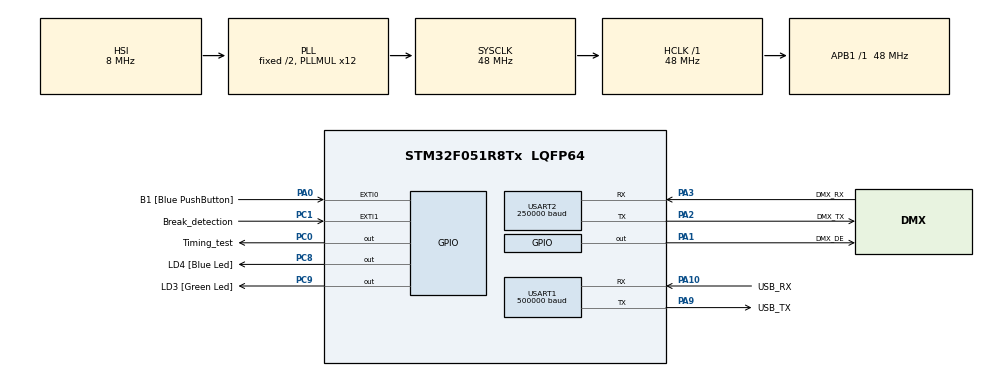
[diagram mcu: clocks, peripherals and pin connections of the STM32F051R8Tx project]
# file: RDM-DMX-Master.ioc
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Dma.Request0=USART1_RX
Dma.Request1=USART2_RX
Dma.USART1_RX.0.Direction=DMA_PERIPH_TO_MEMORY
Dma.USART1_RX.0.Instance=DMA1_Channel3
Dma.USART1_RX.0.MemDataAlignment=DMA_MDATAALIGN_BYTE
Dma.USART1_RX.0.MemInc=DMA_MINC_ENABLE
Dma.USART1_RX.0.Mode=DMA_NORMAL
Dma.USART1_RX.0.PeriphDataAlignment=DMA_PDATAALIGN_BYTE
Dma.USART1_RX.0.PeriphInc=DMA_PINC_DISABLE
Dma.USART1_RX.0.Priority=DMA_PRIORITY_LOW
Dma.USART2_RX.1.Direction=DMA_PERIPH_TO_MEMORY
Dma.USART2_RX.1.Instance=DMA1_Channel5
Dma.USART2_RX.1.MemDataAlignment=DMA_MDATAALIGN_BYTE
Dma.USART2_RX.1.MemInc=DMA_MINC_ENABLE
Dma.USART2_RX.1.Mode=DMA_NORMAL
Dma.USART2_RX.1.PeriphDataAlignment=DMA_PDATAALIGN_BYTE
Dma.USART2_RX.1.PeriphInc=DMA_PINC_DISABLE
Dma.USART2_RX.1.Priority=DMA_PRIORITY_LOW
Mcu.Family=STM32F0
Mcu.Name=STM32F051R8Tx
Mcu.Package=LQFP64
NVIC.DMA1_Channel2_3_IRQn=true\:0\:0\:false\:false\:true\:true\:true\:true
NVIC.DMA1_Channel4_5_IRQn=true\:0\:0\:false\:false\:true\:true\:true\:true
NVIC.TIM14_IRQn=true\:0\:0\:false\:false\:true\:true\:true\:true
NVIC.TIM17_IRQn=true\:1\:0\:true\:false\:true\:true\:true\:true
NVIC.TIM2_IRQn=true\:2\:0\:true\:false\:true\:true\:true\:true
NVIC.USART1_IRQn=true\:0\:0\:false\:false\:true\:true\:true\:true
NVIC.USART2_IRQn=true\:1\:0\:true\:false\:true\:true\:true\:true
PA0.GPIO_Label=B1 [Blue PushButton]
PA0.GPIO_ModeDefaultEXTI=GPIO_MODE_EVT_RISING
PA0.Signal=GPXTI0
PA1.GPIO_Label=DMX_DE
PA1.Signal=GPIO_Output
PA10.GPIO_Label=USB_RX
PA10.Mode=Asynchronous
PA10.Signal=USART1_RX
PA13.GPIO_Label=SWDIO
PA13.Mode=Serial_Wire
PA13.Signal=SYS_SWDIO
PA14.GPIO_Label=SWCLK
PA14.Mode=Serial_Wire
PA14.Signal=SYS_SWCLK
PA2.GPIO_Label=DMX_TX
PA2.Mode=Asynchronous
PA2.Signal=USART2_TX
PA3.GPIO_Label=DMX_RX
PA3.Mode=Asynchronous
PA3.Signal=USART2_RX
PA9.GPIO_Label=USB_TX
PA9.Mode=Asynchronous
PA9.Signal=USART1_TX
PC0.GPIO_Label=Timing_test
PC0.GPIO_Speed=GPIO_SPEED_FREQ_HIGH
PC0.Signal=GPIO_Output
PC1.GPIO_Label=Break_detection
PC1.GPIO_ModeDefaultEXTI=GPIO_MODE_IT_RISING_FALLING
PC1.Signal=GPXTI1
PC8.GPIO_Label=LD4 [Blue Led]
PC8.Signal=GPIO_Output
PC9.GPIO_Label=LD3 [Green Led]
PC9.Signal=GPIO_Output
ProjectManager.HeapSize=0x200
ProjectManager.StackSize=0x400
ProjectManager.TargetToolchain=STM32CubeIDE
RCC.AHBFreq_Value=48000000
RCC.APB1Freq_Value=48000000
RCC.APB1TimFreq_Value=48000000
RCC.HCLKFreq_Value=48000000
RCC.PLLMUL=RCC_PLL_MUL12
RCC.SYSCLKFreq_VALUE=48000000
RCC.SYSCLKSource=RCC_SYSCLKSOURCE_PLLCLK
TIM14.Channel=TIM_CHANNEL_1
TIM14.Prescaler=48-1
TIM17.AutoReloadPreload=TIM_AUTORELOAD_PRELOAD_ENABLE
TIM17.Period=0xffff
TIM17.Prescaler=48-1
TIM2.Period=100000
TIM2.Prescaler=48-1
USART1.BaudRate=500000
USART1.StopBits=STOPBITS_2
USART1.VirtualMode-Asynchronous=VM_ASYNC
USART2.BaudRate=250000
USART2.StopBits=STOPBITS_2
USART2.VirtualMode-Asynchronous=VM_ASYNC
VP_TIM14_VS_ClockSourceINT.Mode=Enable_Timer
VP_TIM14_VS_no_output1.Mode=Output Compare1 No Output
VP_TIM17_VS_ClockSourceINT.Mode=Enable_Timer
VP_TIM2_VS_ClockSourceINT.Mode=Internal
board=STM32F0DISCOVERY

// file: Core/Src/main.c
/* USER CODE BEGIN Header */
/**
  ******************************************************************************
  * @file           : main.c
  * @brief          : Main program body
  ******************************************************************************
  * @attention
  *
  * Copyright (c) 2023 STMicroelectronics.
  * All rights reserved.
  *
  * This software is licensed under terms that can be found in the LICENSE file
  * in the root directory of this software component.
  * If no LICENSE file comes with this software, it is provided AS-IS.
  *
  ******************************************************************************
  */
/* USER CODE END Header */
#include "main.h"

/* USER CODE BEGIN Includes */
#include "DMX.h"
#include <stdio.h>
#include <stdlib.h>
#include <string.h>
/* USER CODE END Includes */

/* USER CODE BEGIN PD */
#define TIMEOUT 100
#define NUM_CHANNELS 40
#define MINIMAL_BREAK_TIME 80 //80us (por norma o minimo é 88us)
#define MINIMAL_MAB_TIME 8 //8us (por norma o minimo é 12us)
//#define DEBUG_RDM
//#define DEBUG_DMX
#define GUI_RDM_DMX
/* USER CODE END PD */

/* USER CODE BEGIN PM */
/* Macros para utilizar os mesmos pinos como UART e GPIO */
#define DMX_UART_Init() MX_USART2_UART_Init()
#define DMX_UART_DeInit HAL_UART_DeInit(&huart2)
#define DMX_GPIO_DeInit() HAL_GPIO_DeInit(GPIOA, GPIO_PIN_2); // Desativa o modo GPIO
#define DMX_Set_LOW() HAL_GPIO_WritePin(GPIOA, GPIO_PIN_2, GPIO_PIN_SET);
#define DMX_Set_HIGH() HAL_GPIO_WritePin(GPIOA, GPIO_PIN_2, GPIO_PIN_RESET);
#define DMX_Set_DE_LOW() HAL_GPIO_WritePin(DMX_DE_GPIO_Port, DMX_DE_Pin, GPIO_PIN_RESET);
#define DMX_Set_DE_HIGH() HAL_GPIO_WritePin(DMX_DE_GPIO_Port, DMX_DE_Pin, GPIO_PIN_SET);

#define HEADER_BUFFER_SIZE 9
#define GUI_addr &huart1
#define LIGHTING_addr &huart2
/* USER CODE END PM */

TIM_HandleTypeDef htim2;
TIM_HandleTypeDef htim14;
TIM_HandleTypeDef htim17;

UART_HandleTypeDef huart1;
UART_HandleTypeDef huart2;
DMA_HandleTypeDef hdma_usart1_rx;
DMA_HandleTypeDef hdma_usart2_rx;

/* USER CODE BEGIN PV */
// Defina os estados da máquina de estados para o envio DMX
typedef enum {
    STATE_IDLE,
	STATE_PREPARE,
    STATE_BREAK,
    STATE_MBB,
    STATE_DATA,
} DMX_State;

// Variáveis globais
DMX_State dmx_state = STATE_IDLE;
uint16_t dmx_index = 0;
uint16_t receivedIndex = 0;
uint8_t* receiveBuffer = NULL;

typedef struct {
    uint8_t *data;
    uint16_t capacity;
} DynamicFrame;

DynamicFrame currentFrame = {0};
uint8_t header_sequence[] = {0x7E, 0x06, 0x3A};
uint8_t tail_sequence[] = {0x7E, 0x06, 0x3B};
uint8_t TBB_value = 0;
uint8_t TBF_value = 0;
uint8_t break_time_value = 88;
uint8_t countinuous_DMX_send = 0;
uint8_t uartBuffer[HEADER_BUFFER_SIZE];
uint8_t* DMX_buffer_toSend = NULL;
uint16_t DMX_buffer_toSend_Size = 0;
uint8_t process_frame = 0;
uint8_t data_already_send = 1;
uint16_t Frame_Size = 0;
uint16_t UART2_rxBuffer_Size = 0;
uint8_t UART2_on_Start = 0;
uint8_t UART2_rxBuffer[1024];
uint8_t UART2_Begin_rxBuffer[3];
uint8_t on_MAB = 0;
uint8_t on_break_mark = 0;
uint8_t data_sent;

/* USER CODE END PV */

void SystemClock_Config(void);
static void MX_GPIO_Init(void);
static void MX_DMA_Init(void);
static void MX_USART1_UART_Init(void);
static void MX_USART2_UART_Init(void);
static void MX_TIM2_Init(void);
static void MX_TIM17_Init(void);
static void MX_TIM14_Init(void);
/* USER CODE BEGIN PFP */
static void DMX_GPIO_Init(void);
void DMX_SendHandler(void);
void startTiming(void);
void stopTiming(void);
/* USER CODE END PFP */

/* USER CODE BEGIN 0 */
void HAL_UART_RxCpltCallback(UART_HandleTypeDef *huart) {
    if(huart == GUI_addr){
    	TIM2->CNT = 0; // Zera o timer que reseta uart em eventos de travamento
    	if (currentFrame.data == NULL) {
			// Cabeçalho e tamanho dos dados detectados, continua a leitura dos dados
			if ((uartBuffer[0] == header_sequence[0]) &&
				(uartBuffer[1] == header_sequence[1]) &&
				(uartBuffer[2] == header_sequence[2])) {

				// Cabeçalho detectado, continua a leitura do tamanho dos dados
				currentFrame.capacity = (uint16_t)((uartBuffer[3] << 8) | uartBuffer[4]);
				currentFrame.data = (uint8_t *)malloc(currentFrame.capacity);

				// Coloca os dados extras nos frames
				TBB_value = uartBuffer[5];
				TBF_value = uartBuffer[6];
				break_time_value = uartBuffer[7];
				countinuous_DMX_send = uartBuffer[8];

				if (currentFrame.data != NULL) {
					// Continua a recepção dos dados e rodapé
					HAL_UART_Receive_DMA(huart, currentFrame.data, currentFrame.capacity);
				} else {
					// Falha na alocação de memória, lidar com isso conforme necessário
					free(currentFrame.data);
					currentFrame.data = NULL;
					HAL_UART_Receive_DMA(huart, uartBuffer, HEADER_BUFFER_SIZE);
				}

			} else{ // O cabeçalho está errado e precisar esperar a recepção de novos dados
				free(currentFrame.data);
				currentFrame.data = NULL;
				HAL_UART_Receive_DMA(huart, uartBuffer, HEADER_BUFFER_SIZE);
			}

		} else {
			uint16_t DataSize = currentFrame.capacity;
			// Se o rodapé estiver correto, processa o frame
			if ((currentFrame.data[DataSize-3] == tail_sequence[0]) &&
				(currentFrame.data[DataSize-2] == tail_sequence[1]) &&
				(currentFrame.data[DataSize-1] == tail_sequence[2])) {

				process_frame = 1; //Processa o frame

			} else {
				// Se tiver errado, ignora os dados recebidos e espera recepção de novas dados
				free(currentFrame.data);
				currentFrame.data = NULL;
				HAL_UART_Receive_DMA(huart, uartBuffer, HEADER_BUFFER_SIZE);
			}

			HAL_UART_Receive_DMA(huart, uartBuffer, HEADER_BUFFER_SIZE);
		}
    }

    if (huart == LIGHTING_addr){
    	// Corresponde a UART da interface RS485

		/* Recebe os primeiros 3 bytes do frame.
		 * Se for DMX espera receber 256 bytes
		 * Se for RDM espera receber o tamanho designado para o frame */

		if(huart->ErrorCode != 0){
			HAL_UART_DeInit(huart);
			HAL_UART_Init(huart);
			#ifdef DEBUG_PYSICAL
				Debug_write_string("\n\rOcorreu um erro no recebimento e os dados não serão processados");
			#endif

		} else {

			if (UART2_on_Start){
				/* Se a UART receceu os 3 bytes de inicio, então testa se é RDM ou DMX
				 * e prapara o recebimento do restante dos dados
				 *
				 * */

				UART2_on_Start = 0;

				if (UART2_Begin_rxBuffer[0] == 0xCC){
					uint16_t Frame_Size = UART2_rxBuffer_Size - 3;
					HAL_UART_Receive_IT(huart, UART2_rxBuffer, Frame_Size);

				} else{
					// Tratamento quando o dado recebido não é DMX nem RDM
					HAL_NVIC_EnableIRQ(EXTI0_1_IRQn); //Libera para receber um novo frame
				}

			} else {
				HAL_NVIC_EnableIRQ(EXTI0_1_IRQn); //Libera para receber um novo frame
				// Envia o frame para a interface grafica

			}
		}
	}
}

// Função para lidar com a transmissão concluída
void HAL_UART_TxCpltCallback(UART_HandleTypeDef *huart)
{
	if (huart == &huart2){
		 // Este callback será chamado quando a transmissão for concluída
		DMX_Set_DE_LOW();  		 // Desabilitar o barramento DMX para escrita (Necessidade do RS485)
		dmx_state = STATE_IDLE;  // Transição para o estado de IDLE
		data_sent = 1;

		// Libera o buffer de recebimento de dados
		if (!countinuous_DMX_send){
			DMX_buffer_toSend_Size = 0;
			free(DMX_buffer_toSend);
			DMX_buffer_toSend = NULL;
			data_already_send = 1; // Flag para indicar que os dados foram enviados
		}

	}
}

/* USER CODE END 0 */

int main(void)
{

  /* MCU Configuration--------------------------------------------------------*/

  /* Reset of all peripherals, Initializes the Flash interface and the Systick. */
  HAL_Init();

  /* Configure the system clock */
  SystemClock_Config();

  /* Initialize all configured peripherals */
  MX_GPIO_Init();
  MX_DMA_Init();
  MX_USART1_UART_Init();
  MX_USART2_UART_Init();
  MX_TIM2_Init();
  MX_TIM17_Init();
  MX_TIM14_Init();
  /* USER CODE BEGIN 2 */
  #define GUI_addr &huart1
  #define LIGHTING_addr &huart2

  uint8_t dataReceived;
  uint8_t GUI_receiveFinished = 0;
  uint8_t GUI_receive = 1;
  uint32_t currentTime;

  unsigned char viewDMX[20];

  DMX_UART_Init();
  HAL_TIM_Base_Start(&htim17);
  HAL_TIM_Base_Start_IT(&htim2);

  // Inicializa a DMA para a recepção UART
  HAL_UART_Receive_DMA(&huart1, uartBuffer, HEADER_BUFFER_SIZE);

  /* USER CODE END 2 */

  /* Infinite loop */
  /* USER CODE BEGIN WHILE */
  while (1)
  {

//	if(process_frame == 0 && &huart1.Lock == HAL_UNLOCKED){
//		HAL_UART_Receive_DMA(&huart1, uartBuffer, HEADER_BUFFER_SIZE);
//	}

	if(process_frame && (data_already_send || data_sent)){
		// Libera a memória anteriormente alocada se necessário
		DMX_buffer_toSend_Size = 0;
		free(DMX_buffer_toSend);
		DMX_buffer_toSend = NULL;

		if (DMX_buffer_toSend != NULL)
			free(DMX_buffer_toSend);

		DMX_buffer_toSend_Size = currentFrame.capacity - 5;
		DMX_buffer_toSend = (uint8_t *)malloc(DMX_buffer_toSend_Size);

		// Verifica se a alocação de memória foi bem-sucedida antes de copiar os dados
		if (DMX_buffer_toSend != NULL) {

			memcpy(DMX_buffer_toSend, currentFrame.data, DMX_buffer_toSend_Size);
			dmx_state = STATE_PREPARE;
			data_already_send = 0;
			DMX_SendHandler();
		} else {
			// Lida com a falha na alocação de memória, se necessário
		}

		process_frame = 0;
		data_sent = 0;
		data_already_send = 0;

    	// Prepara nova recepção
    	free(currentFrame.data);
    	currentFrame.data = NULL;
//    	HAL_UART_Receive_DMA(&huart1, uartBuffer, HEADER_BUFFER_SIZE);

	}

	// Verifica se deve enviar continuamente os dados
	if(countinuous_DMX_send && data_sent){
		data_sent = 0;
		dmx_state = STATE_PREPARE;
		DMX_SendHandler();
	}

//	if(GUI_receive == 1){
//		/* Recebe dados da GUI */
//
//		if(HAL_UART_Receive (GUI_addr, &dataReceived, 1, 2) == HAL_OK){
//			uint8_t* tempBuffer = (uint8_t*)realloc(receiveBuffer, (receivedIndex + 1) * sizeof(uint8_t)); /* Buffer temporario para alocacao dinamica*/
//			receiveBuffer = tempBuffer;
//			receiveBuffer[receivedIndex++] = dataReceived;
//			GUI_receiveFinished = 1; /* Avisa que quando acabar o recebimento de bytes, pode enviar para a luminaria*/
//
//		} else if(GUI_receiveFinished == 1){
//
//			/* Se acabou o recebimento, envia para a luminária e reseta os parametros de recebimento*/
//			if(receivedIndex > 5){ //Verifica se há dados para serem repassados
//				dmx_state = STATE_PREPARE;
//				DMX_SendHandler();
//			}
//
//			if(receiveBuffer[0] == 0xCC){	// Se for um frame RDM, a proxima iteracao sera a espera de um comando vindo da luminaria
//				GUI_receive = 0; /* Entra para a secao que espera o recebimento de dados da luminaria e envia para a GUI*/
//				currentTime = __HAL_TIM_GET_COUNTER(&htim2); /* Inicia timer para definir rota de retorno para este modo*/
//
//			}
//
//			GUI_receiveFinished = 0;
////			receivedIndex = 0;
////			free(receiveBuffer);
////			receiveBuffer = NULL;
//		}
//	} else{
//		/* Recebe dados da luminaria */
//		if(HAL_UART_Receive (LIGHTING_addr, &dataReceived, 1, 1) == HAL_OK){
//			uint8_t* tempBuffer = (uint8_t*)realloc(receiveBuffer, (receivedIndex + 1) * sizeof(uint8_t)); /* Buffer temporario para alocacao dinamica*/
//			receiveBuffer = tempBuffer;
//			receiveBuffer[receivedIndex++] = dataReceived;
//			GUI_receiveFinished = 1; /* Avisa que quando acabar o recebimento de bytes, pode enviar para a luminaria*/
//
//		} else if(GUI_receiveFinished == 1){
//			/* Se acabou o recebimento, envia para a GUI e reseta os parametros de recebimento*/
//			if(receivedIndex > 1)//Verifica se há dados para serem repassados
//				HAL_UART_Transmit(GUI_addr, receiveBuffer, receivedIndex, 1);
//
//			GUI_receiveFinished = 0;
//			receivedIndex = 0;
//			GUI_receive = 1; /* Volta para o recebimento de dados da GUI e envio para a luminaria*/
//			free(receiveBuffer);
//			receiveBuffer = NULL;
//
//		} else if((currentTime - __HAL_TIM_GET_COUNTER(&htim2)) > TIME_WAIT_RDM_RESPONSE){
//			GUI_receive = 1; /* Volta para o recebimento de dados da GUI e envio para a luminaria*/
//		}
//	}
    /* USER CODE END WHILE */

  }
}

void SystemClock_Config(void)
{
  RCC_OscInitTypeDef RCC_OscInitStruct = {0};
  RCC_ClkInitTypeDef RCC_ClkInitStruct = {0};
  RCC_PeriphCLKInitTypeDef PeriphClkInit = {0};

  /** Initializes the RCC Oscillators according to the specified parameters
  * in the RCC_OscInitTypeDef structure.
  */
  RCC_OscInitStruct.OscillatorType = RCC_OSCILLATORTYPE_HSI;
  RCC_OscInitStruct.HSIState = RCC_HSI_ON;
  RCC_OscInitStruct.HSICalibrationValue = RCC_HSICALIBRATION_DEFAULT;
  RCC_OscInitStruct.PLL.PLLState = RCC_PLL_ON;
  RCC_OscInitStruct.PLL.PLLSource = RCC_PLLSOURCE_HSI;
  RCC_OscInitStruct.PLL.PLLMUL = RCC_PLL_MUL12;
  RCC_OscInitStruct.PLL.PREDIV = RCC_PREDIV_DIV1;
  if (HAL_RCC_OscConfig(&RCC_OscInitStruct) != HAL_OK)
  {
    Error_Handler();
  }

  /** Initializes the CPU, AHB and APB buses clocks
  */
  RCC_ClkInitStruct.ClockType = RCC_CLOCKTYPE_HCLK|RCC_CLOCKTYPE_SYSCLK
                              |RCC_CLOCKTYPE_PCLK1;
  RCC_ClkInitStruct.SYSCLKSource = RCC_SYSCLKSOURCE_PLLCLK;
  RCC_ClkInitStruct.AHBCLKDivider = RCC_SYSCLK_DIV1;
  RCC_ClkInitStruct.APB1CLKDivider = RCC_HCLK_DIV1;

  if (HAL_RCC_ClockConfig(&RCC_ClkInitStruct, FLASH_LATENCY_1) != HAL_OK)
  {
    Error_Handler();
  }
  PeriphClkInit.PeriphClockSelection = RCC_PERIPHCLK_USART1;
  PeriphClkInit.Usart1ClockSelection = RCC_USART1CLKSOURCE_PCLK1;
  if (HAL_RCCEx_PeriphCLKConfig(&PeriphClkInit) != HAL_OK)
  {
    Error_Handler();
  }
}

static void MX_TIM2_Init(void)
{

  TIM_ClockConfigTypeDef sClockSourceConfig = {0};
  TIM_MasterConfigTypeDef sMasterConfig = {0};

  htim2.Instance = TIM2;
  htim2.Init.Prescaler = 48-1;
  htim2.Init.CounterMode = TIM_COUNTERMODE_UP;
  htim2.Init.Period = 100000;
  htim2.Init.ClockDivision = TIM_CLOCKDIVISION_DIV1;
  htim2.Init.AutoReloadPreload = TIM_AUTORELOAD_PRELOAD_DISABLE;
  if (HAL_TIM_Base_Init(&htim2) != HAL_OK)
  {
    Error_Handler();
  }
  sClockSourceConfig.ClockSource = TIM_CLOCKSOURCE_INTERNAL;
  if (HAL_TIM_ConfigClockSource(&htim2, &sClockSourceConfig) != HAL_OK)
  {
    Error_Handler();
  }
  sMasterConfig.MasterOutputTrigger = TIM_TRGO_RESET;
  sMasterConfig.MasterSlaveMode = TIM_MASTERSLAVEMODE_DISABLE;
  if (HAL_TIMEx_MasterConfigSynchronization(&htim2, &sMasterConfig) != HAL_OK)
  {
    Error_Handler();
  }

}

static void MX_TIM14_Init(void)
{

  TIM_OC_InitTypeDef sConfigOC = {0};

  htim14.Instance = TIM14;
  htim14.Init.Prescaler = 48-1;
  htim14.Init.CounterMode = TIM_COUNTERMODE_UP;
  htim14.Init.Period = 65535;
  htim14.Init.ClockDivision = TIM_CLOCKDIVISION_DIV1;
  htim14.Init.AutoReloadPreload = TIM_AUTORELOAD_PRELOAD_DISABLE;
  if (HAL_TIM_Base_Init(&htim14) != HAL_OK)
  {
    Error_Handler();
  }
  if (HAL_TIM_OC_Init(&htim14) != HAL_OK)
  {
    Error_Handler();
  }
  sConfigOC.OCMode = TIM_OCMODE_TIMING;
  sConfigOC.Pulse = 0;
  sConfigOC.OCPolarity = TIM_OCPOLARITY_HIGH;
  sConfigOC.OCFastMode = TIM_OCFAST_DISABLE;
  if (HAL_TIM_OC_ConfigChannel(&htim14, &sConfigOC, TIM_CHANNEL_1) != HAL_OK)
  {
    Error_Handler();
  }

}

static void MX_TIM17_Init(void)
{

  htim17.Instance = TIM17;
  htim17.Init.Prescaler = 48-1;
  htim17.Init.CounterMode = TIM_COUNTERMODE_UP;
  htim17.Init.Period = 0xffff;
  htim17.Init.ClockDivision = TIM_CLOCKDIVISION_DIV1;
  htim17.Init.RepetitionCounter = 0;
  htim17.Init.AutoReloadPreload = TIM_AUTORELOAD_PRELOAD_ENABLE;
  if (HAL_TIM_Base_Init(&htim17) != HAL_OK)
  {
    Error_Handler();
  }

}

static void MX_USART1_UART_Init(void)
{

  huart1.Instance = USART1;
  huart1.Init.BaudRate = 500000;
  huart1.Init.WordLength = UART_WORDLENGTH_8B;
  huart1.Init.StopBits = UART_STOPBITS_2;
  huart1.Init.Parity = UART_PARITY_NONE;
  huart1.Init.Mode = UART_MODE_TX_RX;
  huart1.Init.HwFlowCtl = UART_HWCONTROL_NONE;
  huart1.Init.OverSampling = UART_OVERSAMPLING_16;
  huart1.Init.OneBitSampling = UART_ONE_BIT_SAMPLE_DISABLE;
  huart1.AdvancedInit.AdvFeatureInit = UART_ADVFEATURE_NO_INIT;
  if (HAL_UART_Init(&huart1) != HAL_OK)
  {
    Error_Handler();
  }

}

static void MX_USART2_UART_Init(void)
{

  huart2.Instance = USART2;
  huart2.Init.BaudRate = 250000;
  huart2.Init.WordLength = UART_WORDLENGTH_8B;
  huart2.Init.StopBits = UART_STOPBITS_2;
  huart2.Init.Parity = UART_PARITY_NONE;
  huart2.Init.Mode = UART_MODE_TX_RX;
  huart2.Init.HwFlowCtl = UART_HWCONTROL_NONE;
  huart2.Init.OverSampling = UART_OVERSAMPLING_16;
  huart2.Init.OneBitSampling = UART_ONE_BIT_SAMPLE_DISABLE;
  huart2.AdvancedInit.AdvFeatureInit = UART_ADVFEATURE_NO_INIT;
  if (HAL_UART_Init(&huart2) != HAL_OK)
  {
    Error_Handler();
  }

}

static void MX_DMA_Init(void)
{

  /* DMA controller clock enable */
  __HAL_RCC_DMA1_CLK_ENABLE();

  /* DMA interrupt init */
  /* DMA1_Channel2_3_IRQn interrupt configuration */
  HAL_NVIC_SetPriority(DMA1_Channel2_3_IRQn, 0, 0);
  HAL_NVIC_EnableIRQ(DMA1_Channel2_3_IRQn);
  /* DMA1_Channel4_5_IRQn interrupt configuration */
  HAL_NVIC_SetPriority(DMA1_Channel4_5_IRQn, 0, 0);
  HAL_NVIC_EnableIRQ(DMA1_Channel4_5_IRQn);

}

static void MX_GPIO_Init(void)
{
  GPIO_InitTypeDef GPIO_InitStruct = {0};

  /* GPIO Ports Clock Enable */
  __HAL_RCC_GPIOC_CLK_ENABLE();
  __HAL_RCC_GPIOA_CLK_ENABLE();

  /*Configure GPIO pin Output Level */
  HAL_GPIO_WritePin(GPIOC, Timing_test_Pin|LD4_Pin|LD3_Pin, GPIO_PIN_RESET);

  /*Configure GPIO pin Output Level */
  HAL_GPIO_WritePin(DMX_DE_GPIO_Port, DMX_DE_Pin, GPIO_PIN_RESET);

  /*Configure GPIO pin : Timing_test_Pin */
  GPIO_InitStruct.Pin = Timing_test_Pin;
  GPIO_InitStruct.Mode = GPIO_MODE_OUTPUT_PP;
  GPIO_InitStruct.Pull = GPIO_NOPULL;
  GPIO_InitStruct.Speed = GPIO_SPEED_FREQ_HIGH;
  HAL_GPIO_Init(Timing_test_GPIO_Port, &GPIO_InitStruct);

  /*Configure GPIO pin : Break_detection_Pin */
  GPIO_InitStruct.Pin = Break_detection_Pin;
  GPIO_InitStruct.Mode = GPIO_MODE_IT_RISING_FALLING;
  GPIO_InitStruct.Pull = GPIO_NOPULL;
  HAL_GPIO_Init(Break_detection_GPIO_Port, &GPIO_InitStruct);

  /*Configure GPIO pin : B1_Pin */
  GPIO_InitStruct.Pin = B1_Pin;
  GPIO_InitStruct.Mode = GPIO_MODE_EVT_RISING;
  GPIO_InitStruct.Pull = GPIO_NOPULL;
  HAL_GPIO_Init(B1_GPIO_Port, &GPIO_InitStruct);

  /*Configure GPIO pin : DMX_DE_Pin */
  GPIO_InitStruct.Pin = DMX_DE_Pin;
  GPIO_InitStruct.Mode = GPIO_MODE_OUTPUT_PP;
  GPIO_InitStruct.Pull = GPIO_NOPULL;
  GPIO_InitStruct.Speed = GPIO_SPEED_FREQ_LOW;
  HAL_GPIO_Init(DMX_DE_GPIO_Port, &GPIO_InitStruct);

  /*Configure GPIO pins : LD4_Pin LD3_Pin */
  GPIO_InitStruct.Pin = LD4_Pin|LD3_Pin;
  GPIO_InitStruct.Mode = GPIO_MODE_OUTPUT_PP;
  GPIO_InitStruct.Pull = GPIO_NOPULL;
  GPIO_InitStruct.Speed = GPIO_SPEED_FREQ_LOW;
  HAL_GPIO_Init(GPIOC, &GPIO_InitStruct);

}

/* USER CODE BEGIN 4 */
/*
 * Função que envia o comando DMX seguindo os tempos de MBB, break e MAB exigidos pela norma
 *
 * */

static void DMX_GPIO_Init(void){
	GPIO_InitTypeDef GPIO_InitStruct = {0};
	uint16_t receivedIndex = 0;
	uint8_t GUI_receiveFinished = 0;
	uint8_t GUI_receive = 1;

	HAL_GPIO_WritePin(GPIOA, GPIO_PIN_2, GPIO_PIN_SET);
	uint32_t currentTime;

	// Configure GPIO pin as output
	GPIO_InitStruct.Pin = GPIO_PIN_2;
	GPIO_InitStruct.Mode = GPIO_MODE_OUTPUT_PP;
	GPIO_InitStruct.Pull = GPIO_NOPULL;
	GPIO_InitStruct.Speed = GPIO_SPEED_FREQ_LOW;
	HAL_GPIO_Init(GPIOA, &GPIO_InitStruct);
	unsigned char viewDMX[20];

}

void DMX_SendHandler(void) {
    switch (dmx_state) {
        case STATE_IDLE:
            break;

        case STATE_PREPARE:
        	DMX_UART_DeInit;
			DMX_GPIO_Init();   // Inicia DMX modo GPIO
        	//DMX_Set_LOW();
        	DMX_Set_DE_HIGH(); // Habilita o barramento DMX para escrita (Necessidade do RS485)

//        	TIM17->CNT = 0;
//        	TIM17->ARR = 0;
        	__HAL_TIM_ENABLE_IT(&htim17, TIM_IT_UPDATE);
			dmx_state = STATE_MBB;
			break;

        case STATE_MBB:
			DMX_Set_HIGH(); // Setar o MBB

			__HAL_TIM_ENABLE_IT(&htim17, TIM_IT_UPDATE);
			TIM17->CNT = 0;
			TIM17->ARR = TIME_BEFORE_BREAK;
			dmx_state = STATE_BREAK;
			break;

        case STATE_BREAK:
            DMX_Set_LOW();  // Setar o Break

            __HAL_TIM_ENABLE_IT(&htim17, TIM_IT_UPDATE);
            TIM17->CNT = 0;
            TIM17->ARR = break_time_value - 13; // 13 us de atrso natural do sistema para prepar o timer
            dmx_state = STATE_DATA;
            break;

        case STATE_DATA:
        	DMX_GPIO_DeInit(); 	// Desativa o modo GPIO
			DMX_UART_Init();		// Inicia novamente o modo USART
			dmx_state = STATE_IDLE;
			HAL_UART_Transmit_IT(LIGHTING_addr, DMX_buffer_toSend, DMX_buffer_toSend_Size);
			// Final da transmissão é feita no callback de transmissão DMA
			HAL_NVIC_EnableIRQ(TIM2_IRQn); // Ativa TIM2 para verificar error na recepção de dados
            break;
    }
}

void HAL_GPIO_EXTI_Callback(uint16_t GPIO_Pin)
{
	if(GPIO_Pin == Break_detection_Pin){
		uint8_t currentButtonState = HAL_GPIO_ReadPin(Break_detection_GPIO_Port, Break_detection_Pin);
		if(currentButtonState == 0){ // Borda de 1 - 0 (Detecta o break)
			if(on_break_mark){
				TIM14->CNT = 0;
				UART2_on_Start = 1;
				//HAL_GPIO_TogglePin(GPIOC, LD4_Pin);

			} else if (on_MAB) {
				//Confere se o break 00é pelo menos 80us
				//uint32_t tempo = TIM14->CNT;
				if(TIM14->CNT > MINIMAL_BREAK_TIME && UART2_on_Start){
					//HAL_GPIO_TogglePin(GPIOC, LD4_Pin);
					// Avalia se o tempo de brak foi atingido. Se sim, passa para avaliação do MAB
					on_break_mark = 0;
					on_MAB = 1;
					TIM14->CNT = 0;
				}
			}

		} else{						 // Borda de 0 - 1 (Confere se o break 00é pelo menos 80us)
			//uint32_t tempo = TIM14->CNT;
			if(TIM14->CNT > MINIMAL_BREAK_TIME && UART2_on_Start){
				//HAL_GPIO_TogglePin(GPIOC, LD4_Pin);
				HAL_NVIC_DisableIRQ(EXTI0_1_IRQn); //Trava a recepção de sinais que não sejam break

				HAL_UART_Init(LIGHTING_addr);
				HAL_UART_Receive_DMA(LIGHTING_addr, UART2_Begin_rxBuffer, 3);

			}
		}
	}
}

// Verifica se ocorreu um erro no recebimento dos dados que pode travar a recepção
void HAL_TIM_PeriodElapsedCallback(TIM_HandleTypeDef *htim) {
	if (htim->Instance == TIM14) {  // Verifica se o callback é para o timer TIM14
		HAL_NVIC_EnableIRQ(EXTI0_1_IRQn); //Libera para receber um novo frame
		on_break_mark = 1;
		on_MAB = 0;
	}
}

// Função para iniciar a temporização
void startTiming() {
    HAL_GPIO_WritePin(GPIOC, Timing_test_Pin, GPIO_PIN_SET); // Defina o pino para alto
}

// Função para parar a temporização
void stopTiming() {
    HAL_GPIO_WritePin(GPIOC, Timing_test_Pin, GPIO_PIN_RESET); // Defina o pino para baixo
}
/* USER CODE END 4 */

void Error_Handler(void)
{
  __disable_irq();
  while (1)
  {
  }
}
